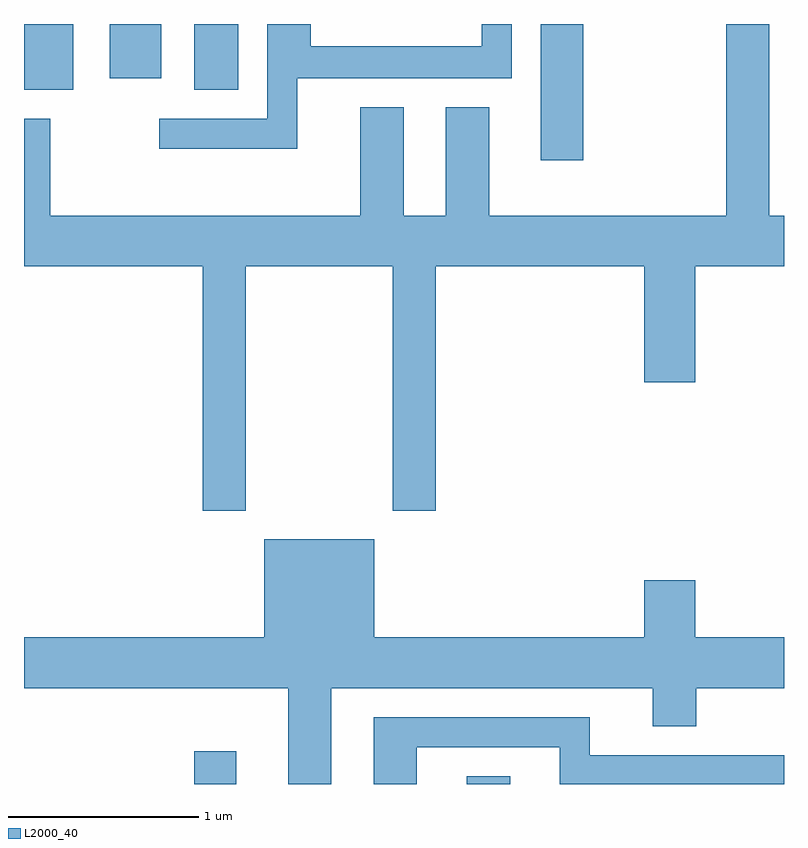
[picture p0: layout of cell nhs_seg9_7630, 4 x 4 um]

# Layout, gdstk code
import gdstk
lib = gdstk.Library(unit=1e-6, precision=1e-09)
def R(c, l, rs):  # rectangles x0, y0, x1, y1
    for r in rs: c.add(gdstk.rectangle(r[:2], r[2:], *l))
def P(c, l, *ps):  # polygons
    for p in ps: c.add(gdstk.Polygon(p, *l))
L2000_40 = (2000, 40)

nhs_seg9_7630 = lib.new_cell('nhs_seg9_7630')
R(nhs_seg9_7630, L2000_40, [(412.506,1982.432,412.729,1982.604), (413.941,1982.432,414.169,1982.474), (414.331,1985.716,414.554,1986.432), (411.611,1986.086,411.869,1986.432), (412.506,1986.086,412.739,1986.432), (412.061,1986.146,412.334,1986.432)])
P(nhs_seg9_7630, L2000_40, [(413.049,1986.146),(414.179,1986.146),(414.179,1986.432),(414.021,1986.432),(414.021,1986.314),(413.119,1986.314),(413.119,1986.432),(412.891,1986.432),(412.891,1985.934),(412.323,1985.934),(412.323,1985.776),(413.049,1985.776)],
  [(412.779,1985.156),(413.551,1985.156),(413.551,1983.871),(413.779,1983.871),(413.779,1985.156),(414.876,1985.156),(414.876,1984.546),(415.144,1984.546),(415.144,1985.156),(415.611,1985.156),(415.611,1985.424),(415.534,1985.424),(415.534,1986.432),(415.306,1986.432),(415.306,1985.424),(414.059,1985.424),(414.059,1985.994),(413.831,1985.994),(413.831,1985.424),(413.609,1985.424),(413.609,1985.994),(413.381,1985.994),(413.381,1985.424),(411.749,1985.424),(411.749,1985.934),(411.611,1985.934),(411.611,1985.156),(412.551,1985.156),(412.551,1983.871),(412.779,1983.871)],
  [(413.229,1982.936),(414.921,1982.936),(414.921,1982.736),(415.149,1982.736),(415.149,1982.936),(415.611,1982.936),(415.611,1983.204),(415.144,1983.204),(415.144,1983.504),(414.876,1983.504),(414.876,1983.204),(413.454,1983.204),(413.454,1983.719),(412.876,1983.719),(412.876,1983.204),(411.611,1983.204),(411.611,1982.936),(413.001,1982.936),(413.001,1982.432),(413.229,1982.432)],
  [(413.679,1982.626),(414.431,1982.626),(414.431,1982.432),(415.611,1982.432),(415.611,1982.584),(414.589,1982.584),(414.589,1982.784),(413.451,1982.784),(413.451,1982.432),(413.679,1982.432)])

lib.write_gds('nhs_seg9_7630.gds')
